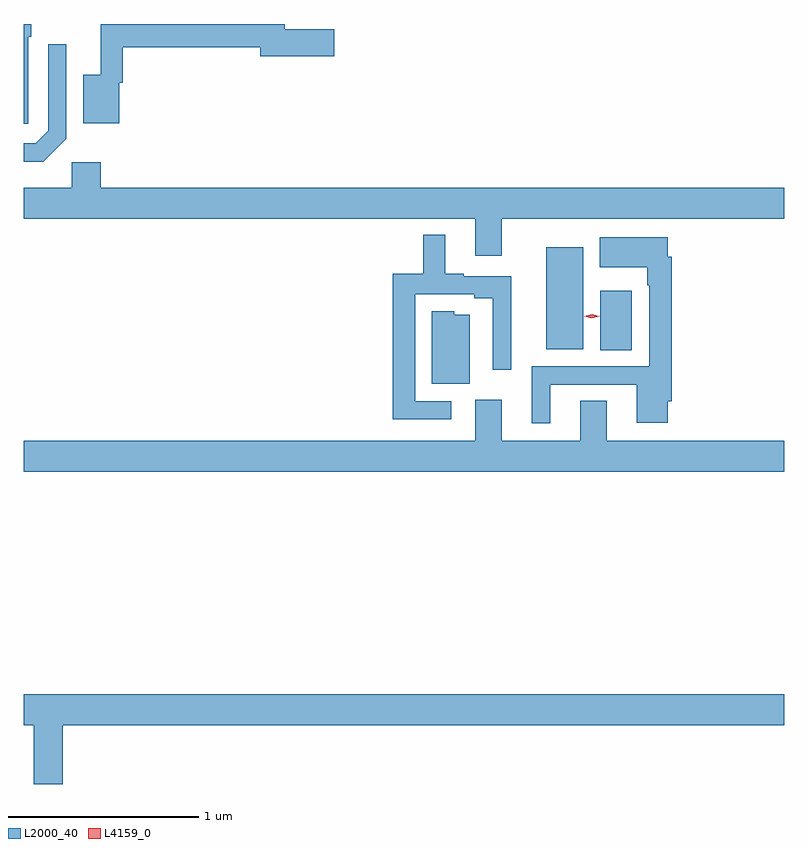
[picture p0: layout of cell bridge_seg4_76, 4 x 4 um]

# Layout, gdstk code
import gdstk
lib = gdstk.Library(unit=1e-6, precision=1e-09)
def R(c, l, rs):  # rectangles x0, y0, x1, y1
    for r in rs: c.add(gdstk.rectangle(r[:2], r[2:], *l))
def P(c, l, *ps):  # polygons
    for p in ps: c.add(gdstk.Polygon(p, *l))
L2000_40 = (2000, 40)
L4159_0 = (4159, 0)

bridge_seg4_76 = lib.new_cell('bridge_seg4_76')
R(bridge_seg4_76, L2000_40, [(474.158,822.769,474.325,823.081), (473.873,822.773,474.07,823.309)])
P(bridge_seg4_76, L2000_40, [(471.628,824.175),(471.647,824.175),(471.647,824.362),(472.37,824.362),(472.37,824.315),(472.759,824.315),(472.759,824.457),(472.498,824.457),(472.498,824.484),(471.53,824.484),(471.53,824.218),(471.44,824.218),(471.44,823.961),(471.628,823.961)],
  [(471.15,824.417),(471.165,824.417),(471.165,824.484),(471.126,824.484),(471.126,823.959),(471.15,823.959)],
  [(471.351,823.881),(471.351,824.377),(471.255,824.377),(471.255,823.923),(471.189,823.857),(471.126,823.857),(471.126,823.76),(471.23,823.76)],
  [(473.641,823.46),(475.126,823.46),(475.126,823.624),(471.53,823.624),(471.53,823.756),(471.378,823.756),(471.378,823.624),(471.126,823.624),(471.126,823.46),(473.501,823.46),(473.501,823.266),(473.641,823.266)],
  [(473.374,822.501),(473.184,822.501),(473.184,823.062),(473.495,823.062),(473.495,823.042),(473.592,823.042),(473.592,822.666),(473.69,822.666),(473.69,823.158),(473.44,823.158),(473.44,823.171),(473.344,823.171),(473.344,823.375),(473.227,823.375),(473.227,823.171),(473.068,823.171),(473.068,822.405),(473.374,822.405)],
  [(473.896,822.588),(474.35,822.588),(474.35,822.387),(474.514,822.387),(474.514,822.499),(474.533,822.499),(474.533,823.259),(474.513,823.259),(474.513,823.363),(474.156,823.363),(474.156,823.205),(474.405,823.205),(474.405,823.109),(474.417,823.109),(474.417,822.684),(473.798,822.684),(473.798,822.384),(473.896,822.384)],
  [(473.473,822.955),(473.391,822.955),(473.391,822.973),(473.273,822.973),(473.273,822.593),(473.473,822.593)],
  [(475.126,822.292),(474.193,822.292),(474.193,822.503),(474.053,822.503),(474.053,822.292),(473.641,822.292),(473.641,822.508),(473.501,822.508),(473.501,822.292),(471.126,822.292),(471.126,822.128),(475.126,822.128)],
  [(471.332,820.796),(475.126,820.796),(475.126,820.96),(471.126,820.96),(471.126,820.796),(471.179,820.796),(471.179,820.487),(471.332,820.487)])
P(bridge_seg4_76, L4159_0, [(474.114,822.937),(474.075,822.947),(474.075,822.947),(474.075,822.948),(474.115,822.957),(474.154,822.947),(474.154,822.947),(474.154,822.947)])

lib.write_gds('bridge_seg4_76.gds')
